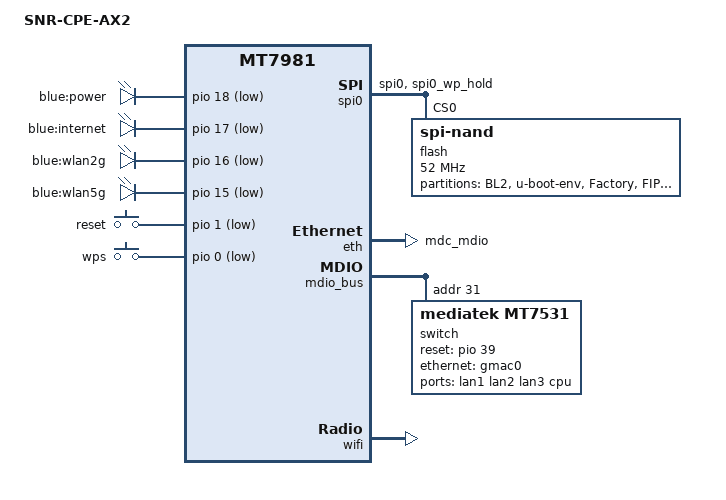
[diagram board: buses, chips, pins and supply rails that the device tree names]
/dts-v1/;
#include "mt7981.dtsi"
#include <dt-bindings/gpio/gpio.h>
#include <dt-bindings/input/input.h>
#include <dt-bindings/leds/common.h>

/ {
	model = "SNR-CPE-AX2";
	compatible = "snr,snr-cpe-ax2", "mediatek,mt7981";

	aliases {
		led-boot = &led_power;
		led-failsafe = &led_power;
		led-running = &led_power;
		led-upgrade = &led_power;
	};

	chosen {
		bootargs = "console=ttyS0,115200";
	};

	leds {
		compatible = "gpio-leds";

		led_power: power {
			label = "blue:power";
			gpios = <&pio 18 GPIO_ACTIVE_LOW>;
		};

		internet {
			label = "blue:internet";
			gpios = <&pio 17 GPIO_ACTIVE_LOW>;
		};

		wlan_2g {
			label = "blue:wlan2g";
			gpios = <&pio 16 GPIO_ACTIVE_LOW>;
		};

		wlan_5g {
			label = "blue:wlan5g";
			gpios = <&pio 15 GPIO_ACTIVE_LOW>;
		};
	};

	keys {
		compatible = "gpio-keys";

		reset {
			label = "reset";
			gpios = <&pio 1 GPIO_ACTIVE_LOW>;
			linux,code = <KEY_RESTART>;
		};

		wps {
			label = "wps";
			gpios = <&pio 0 GPIO_ACTIVE_LOW>;
			linux,code = <KEY_WPS_BUTTON>;
		};
	};
};

&spi0 {
	pinctrl-names = "default";
	pinctrl-0 = <&spi0_flash_pins>;
	status = "okay";

	flash@0 {
		compatible = "spi-nand";
		reg = <0>;
		spi-max-frequency = <52000000>;

		partitions {
			compatible = "fixed-partitions";
			#address-cells = <1>;
			#size-cells = <1>;

			partition@0 {
				label = "BL2";
				reg = <0x000000 0x100000>;
				read-only;
			};

			partition@80000 {
				label = "u-boot-env";
				reg = <0x080000 0x080000>;
			};

			factory: partition@100000 {
				label = "Factory";
				reg = <0x100000 0x100000>;
				read-only;
			};

			partition@200000 {
				label = "FIP";
				reg = <0x200000 0x200000>;
				read-only;
			};

			partition@400000 {
				label = "ubi";
				reg = <0x400000 0x7c00000>;
			};
		};
	};
};

&eth {
	status = "okay";
	pinctrl-names = "default";
	pinctrl-0 = <&mdc_mdio_pins>;

	gmac0: mac@0 {
		compatible = "mediatek,eth-mac";
		reg = <0>;
		phy-mode = "2500base-x";
		fixed-link {
			speed = <2500>;
			full-duplex;
			pause;
		};
	};
};

&mdio_bus {
	status = "okay";
	#address-cells = <1>;
	#size-cells = <0>;

	switch: switch@0 {
		compatible = "mediatek,mt7531";
		reg = <31>;
		reset-gpios = <&pio 39 GPIO_ACTIVE_HIGH>;

		ports {
			#address-cells = <1>;
			#size-cells = <0>;

			port@0 {
				reg = <0>;
				label = "lan1";
			};

			port@1 {
				reg = <1>;
				label = "lan2";
			};

			port@2 {
				reg = <2>;
				label = "lan3";
			};

			port@6 {
				reg = <6>;
				label = "cpu";
				ethernet = <&gmac0>;
				phy-mode = "2500base-x";
				fixed-link {
					speed = <2500>;
					full-duplex;
					pause;
				};
			};
		};
	};
};

&wifi {
	status = "okay";
	mediatek,mtd-eeprom = <&factory 0x0000>;
};

&pio {
	spi0_flash_pins: spi0-pins {
		mux {
			function = "spi";
			groups = "spi0", "spi0_wp_hold";
		};
	};

	mdc_mdio_pins: mdc-mdio-pins {
		mux {
			function = "eth";
			groups = "mdc_mdio";
		};
	};
};
